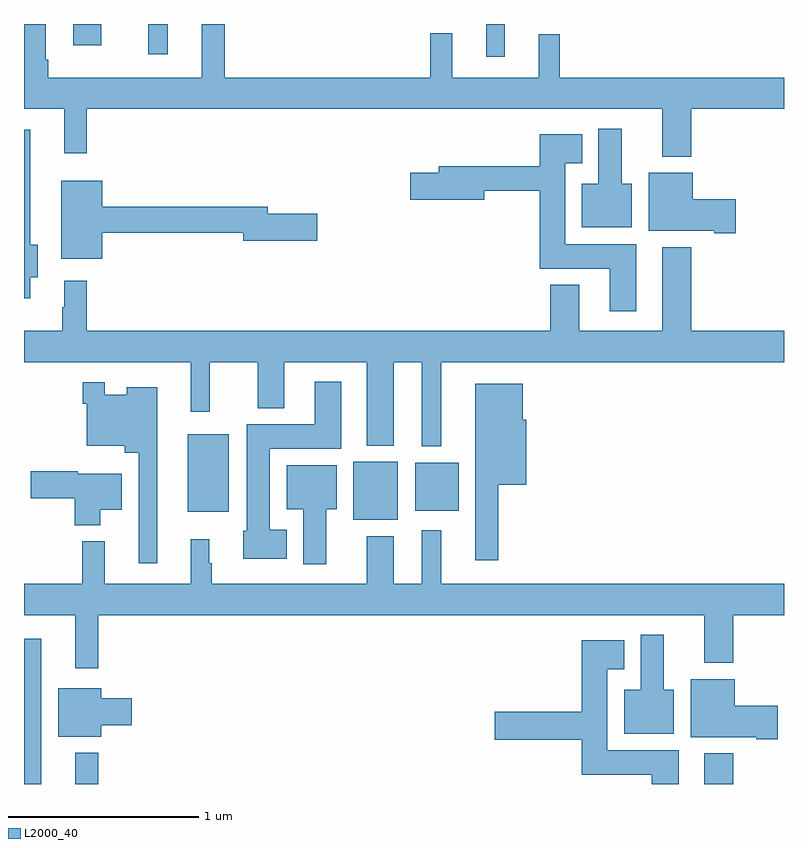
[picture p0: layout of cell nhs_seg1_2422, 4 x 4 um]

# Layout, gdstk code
import gdstk
lib = gdstk.Library(unit=1e-6, precision=1e-09)
def R(c, l, rs):  # rectangles x0, y0, x1, y1
    for r in rs: c.add(gdstk.rectangle(r[:2], r[2:], *l))
def P(c, l, *ps):  # polygons
    for p in ps: c.add(gdstk.Polygon(p, *l))
L2000_40 = (2000, 40)

nhs_seg1_2422 = lib.new_cell('nhs_seg1_2422')
R(nhs_seg1_2422, L2000_40, [(243,528.199,243.091,528.964), (243.269,528.199,243.391,528.364), (246.581,528.199,246.734,528.361), (244.733,529.589,244.966,529.894), (243.863,529.631,244.078,530.041), (245.06,529.637,245.287,529.891), (245.432,532.026,245.529,532.199), (243.653,532.041,243.757,532.199), (243.26,532.086,243.406,532.199)])
P(nhs_seg1_2422, L2000_40, [(246.512,531.752),(247,531.752),(247,531.916),(245.82,531.916),(245.82,532.144),(245.708,532.144),(245.708,531.916),(245.255,531.916),(245.255,532.15),(245.137,532.15),(245.137,531.916),(244.057,531.916),(244.057,532.198),(243.935,532.198),(243.935,531.916),(243.128,531.916),(243.128,532.012),(243.115,532.012),(243.115,532.199),(243,532.199),(243,531.752),(243.212,531.752),(243.212,531.519),(243.329,531.519),(243.329,531.752),(246.359,531.752),(246.359,531.5),(246.512,531.5)],
  [(246.199,531.358),(246.145,531.358),(246.145,531.649),(246.023,531.649),(246.023,531.358),(245.936,531.358),(245.936,531.128),(246.199,531.128)],
  [(243.034,530.867),(243.073,530.867),(243.073,531.038),(243.034,531.038),(243.034,531.643),(243,531.643),(243,530.756),(243.034,530.756)],
  [(246.223,531.04),(245.848,531.04),(245.848,531.467),(245.938,531.467),(245.938,531.619),(245.714,531.619),(245.714,531.451),(245.183,531.451),(245.183,531.417),(245.034,531.417),(245.034,531.275),(245.422,531.275),(245.422,531.322),(245.714,531.322),(245.714,530.912),(246.083,530.912),(246.083,530.688),(246.223,530.688)],
  [(246.745,531.276),(246.52,531.276),(246.52,531.415),(246.287,531.415),(246.287,531.11),(246.632,531.11),(246.632,531.098),(246.745,531.098)],
  [(243.412,531.1),(244.154,531.1),(244.154,531.058),(244.543,531.058),(244.543,531.2),(244.282,531.2),(244.282,531.236),(243.412,531.236),(243.412,531.373),(243.197,531.373),(243.197,530.963),(243.412,530.963)],
  [(245.197,530.42),(247,530.42),(247,530.584),(246.512,530.584),(246.512,531.025),(246.359,531.025),(246.359,530.584),(245.923,530.584),(245.923,530.827),(245.771,530.827),(245.771,530.584),(243.329,530.584),(243.329,530.848),(243.212,530.848),(243.212,530.708),(243.201,530.708),(243.201,530.584),(243,530.584),(243,530.42),(243.878,530.42),(243.878,530.157),(243.978,530.157),(243.978,530.42),(244.229,530.42),(244.229,530.177),(244.369,530.177),(244.369,530.42),(244.805,530.42),(244.805,529.979),(244.945,529.979),(244.945,530.42),(245.093,530.42),(245.093,529.976),(245.197,529.976)],
  [(244.384,529.537),(244.294,529.537),(244.294,529.964),(244.669,529.964),(244.669,530.317),(244.529,530.317),(244.529,530.092),(244.172,530.092),(244.172,529.533),(244.154,529.533),(244.154,529.385),(244.384,529.385)],
  [(243.7,530.287),(243.542,530.287),(243.542,530.248),(243.426,530.248),(243.426,530.314),(243.31,530.314),(243.31,530.201),(243.33,530.201),(243.33,529.979),(243.53,529.979),(243.53,529.943),(243.603,529.943),(243.603,529.362),(243.7,529.362)],
  [(245.497,529.775),(245.644,529.775),(245.644,530.115),(245.626,530.115),(245.626,530.305),(245.375,530.305),(245.375,529.377),(245.497,529.377)],
  [(244.591,529.646),(244.645,529.646),(244.645,529.876),(244.382,529.876),(244.382,529.646),(244.469,529.646),(244.469,529.356),(244.591,529.356)],
  [(243.4,529.643),(243.514,529.643),(243.514,529.831),(243.282,529.831),(243.282,529.844),(243.036,529.844),(243.036,529.702),(243.266,529.702),(243.266,529.562),(243.4,529.562)],
  [(243.391,529.088),(246.581,529.088),(246.581,528.836),(246.734,528.836),(246.734,529.088),(247,529.088),(247,529.252),(245.197,529.252),(245.197,529.534),(245.093,529.534),(245.093,529.252),(244.945,529.252),(244.945,529.504),(244.805,529.504),(244.805,529.252),(243.988,529.252),(243.988,529.361),(243.976,529.361),(243.976,529.486),(243.878,529.486),(243.878,529.252),(243.425,529.252),(243.425,529.477),(243.307,529.477),(243.307,529.252),(243,529.252),(243,529.088),(243.269,529.088),(243.269,528.807),(243.391,528.807)],
  [(246.421,528.694),(246.367,528.694),(246.367,528.985),(246.245,528.985),(246.245,528.694),(246.158,528.694),(246.158,528.464),(246.421,528.464)],
  [(246.445,528.376),(246.07,528.376),(246.07,528.803),(246.16,528.803),(246.16,528.955),(245.936,528.955),(245.936,528.578),(245.478,528.578),(245.478,528.431),(245.936,528.431),(245.936,528.248),(246.305,528.248),(246.305,528.199),(246.445,528.199)],
  [(246.967,528.612),(246.742,528.612),(246.742,528.751),(246.509,528.751),(246.509,528.446),(246.854,528.446),(246.854,528.434),(246.967,528.434)],
  [(243.406,528.509),(243.568,528.509),(243.568,528.651),(243.406,528.651),(243.406,528.703),(243.179,528.703),(243.179,528.449),(243.406,528.449)])

lib.write_gds('nhs_seg1_2422.gds')
